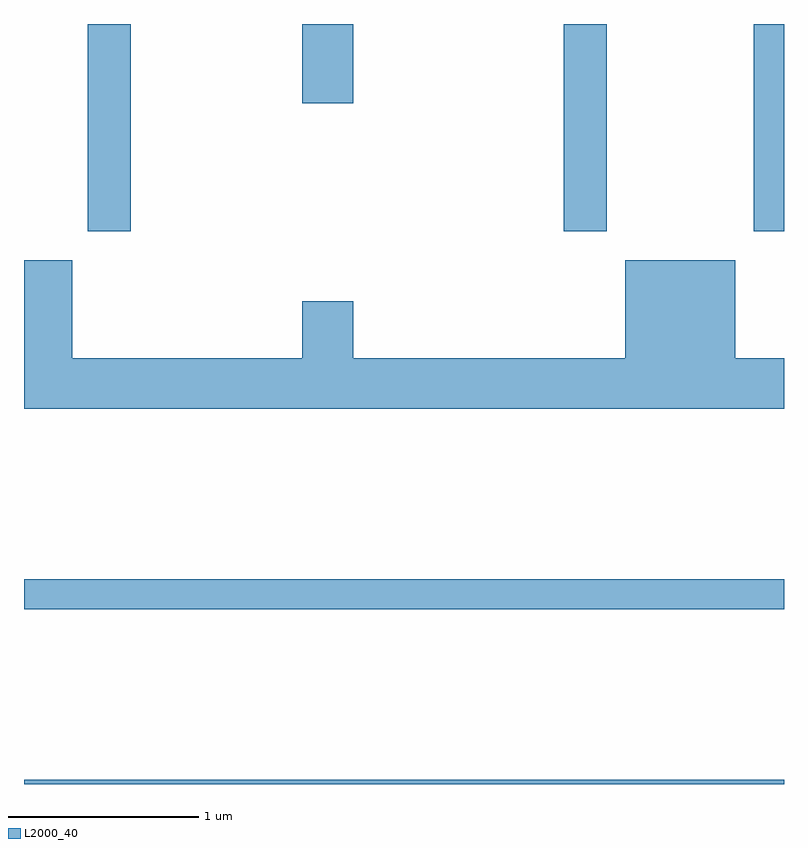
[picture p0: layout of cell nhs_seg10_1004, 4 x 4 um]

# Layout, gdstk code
import gdstk
lib = gdstk.Library(unit=1e-6, precision=1e-09)
def R(c, l, rs):  # rectangles x0, y0, x1, y1
    for r in rs: c.add(gdstk.rectangle(r[:2], r[2:], *l))
def P(c, l, *ps):  # polygons
    for p in ps: c.add(gdstk.Polygon(p, *l))
L2000_40 = (2000, 40)

nhs_seg10_1004 = lib.new_cell('nhs_seg10_1004')
R(nhs_seg10_1004, L2000_40, [(213.611,2198.522,217.611,2198.544), (213.611,2199.441,217.611,2199.599), (213.946,2201.431,214.174,2202.522), (216.451,2201.431,216.679,2202.522), (217.451,2201.431,217.611,2202.522), (215.076,2202.106,215.344,2202.522)])
P(nhs_seg10_1004, L2000_40, [(217.611,2200.764),(217.354,2200.764),(217.354,2201.279),(216.776,2201.279),(216.776,2200.764),(215.344,2200.764),(215.344,2201.064),(215.076,2201.064),(215.076,2200.764),(213.864,2200.764),(213.864,2201.279),(213.611,2201.279),(213.611,2200.496),(217.611,2200.496)])

lib.write_gds('nhs_seg10_1004.gds')
